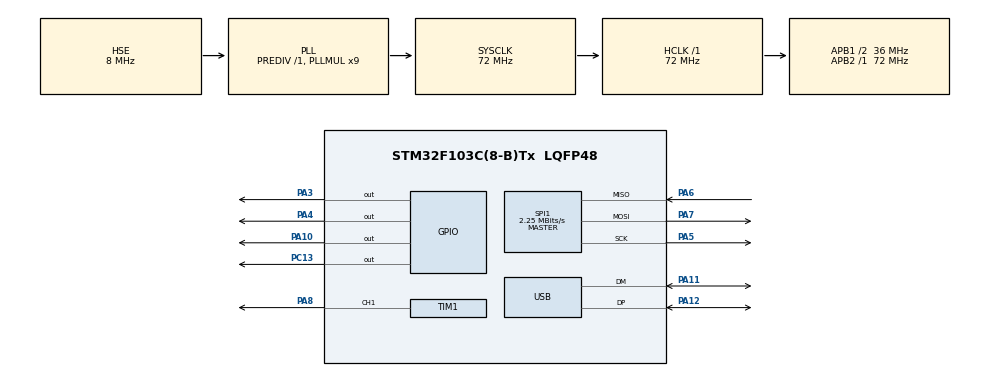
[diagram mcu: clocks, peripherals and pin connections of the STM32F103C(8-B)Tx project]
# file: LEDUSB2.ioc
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Mcu.Family=STM32F1
Mcu.Name=STM32F103C(8-B)Tx
Mcu.Package=LQFP48
NVIC.PriorityGroup=NVIC_PRIORITYGROUP_4
NVIC.TIM1_UP_IRQn=true\:0\:0\:false\:false\:true\:true\:true\:true
NVIC.USB_LP_CAN1_RX0_IRQn=true\:0\:0\:false\:false\:true\:false\:true\:true
PA10.Signal=GPIO_Output
PA11.Mode=Device
PA11.Signal=USB_DM
PA12.Mode=Device
PA12.Signal=USB_DP
PA13.Mode=Serial_Wire
PA13.Signal=SYS_JTMS-SWDIO
PA14.Mode=Serial_Wire
PA14.Signal=SYS_JTCK-SWCLK
PA3.GPIO_Speed=GPIO_SPEED_FREQ_MEDIUM
PA3.Signal=GPIO_Output
PA4.GPIO_Speed=GPIO_SPEED_FREQ_MEDIUM
PA4.PinState=GPIO_PIN_SET
PA4.Signal=GPIO_Output
PA5.Mode=Full_Duplex_Master
PA5.Signal=SPI1_SCK
PA6.Mode=Full_Duplex_Master
PA6.Signal=SPI1_MISO
PA7.Mode=Full_Duplex_Master
PA7.Signal=SPI1_MOSI
PA8.GPIO_ModeDefaultPP=GPIO_MODE_AF_PP
PA8.GPIO_Speed=GPIO_SPEED_FREQ_MEDIUM
PA8.Signal=S_TIM1_CH1
PC13-TAMPER-RTC.Signal=GPIO_Output
PD0-OSC_IN.Mode=HSE-External-Oscillator
PD0-OSC_IN.Signal=RCC_OSC_IN
PD1-OSC_OUT.Mode=HSE-External-Oscillator
PD1-OSC_OUT.Signal=RCC_OSC_OUT
ProjectManager.HeapSize=0x200
ProjectManager.StackSize=0x400
ProjectManager.TargetToolchain=STM32CubeIDE
RCC.AHBFreq_Value=72000000
RCC.APB1CLKDivider=RCC_HCLK_DIV2
RCC.APB1Freq_Value=36000000
RCC.APB1TimFreq_Value=72000000
RCC.APB2Freq_Value=72000000
RCC.APB2TimFreq_Value=72000000
RCC.HCLKFreq_Value=72000000
RCC.PLLMUL=RCC_PLL_MUL9
RCC.PLLSourceVirtual=RCC_PLLSOURCE_HSE
RCC.SYSCLKFreq_VALUE=72000000
RCC.SYSCLKSource=RCC_SYSCLKSOURCE_PLLCLK
RCC.USBFreq_Value=48000000
RCC.USBPrescaler=RCC_USBCLKSOURCE_PLL_DIV1_5
SH.S_TIM1_CH1.0=TIM1_CH1,PWM Generation1 CH1
SPI1.BaudRatePrescaler=SPI_BAUDRATEPRESCALER_32
SPI1.CalculateBaudRate=2.25 MBits/s
SPI1.DataSize=SPI_DATASIZE_8BIT
SPI1.Direction=SPI_DIRECTION_2LINES
SPI1.Mode=SPI_MODE_MASTER
SPI1.VirtualType=VM_MASTER
TIM1.Channel-PWM\ Generation1\ CH1=TIM_CHANNEL_1
TIM1.Period=99
TIM1.Prescaler=71
TIM1.Pulse-PWM\ Generation1\ CH1=200
USB_DEVICE.CLASS_NAME_FS=CDC
USB_DEVICE.VirtualMode=Cdc
USB_DEVICE.VirtualModeFS=Cdc_FS
VP_TIM1_VS_ClockSourceINT.Mode=Internal
VP_USB_DEVICE_VS_USB_DEVICE_CDC_FS.Mode=CDC_FS
board=custom

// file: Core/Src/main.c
/* USER CODE BEGIN Header */
/**
  ******************************************************************************
  * @file           : main.c
  * @brief          : Main program body
  ******************************************************************************
  * @attention
  *
  * Copyright (c) 2024 STMicroelectronics.
  * All rights reserved.
  *
  * This software is licensed under terms that can be found in the LICENSE file
  * in the root directory of this software component.
  * If no LICENSE file comes with this software, it is provided AS-IS.
  *
  ******************************************************************************
  */
/* USER CODE END Header */
#include "main.h"
#include "usb_device.h"

/* USER CODE BEGIN Includes */
#include "usbd_cdc_if.h"
/* USER CODE END Includes */

/* USER CODE BEGIN PTD */
 uint8_t spi_buf[7] = {0xAA,0xBB,0xCC,0xDD,0xFF,0x00,0x00};
 uint8_t spi_OUT[5];
 uint8_t spi_func[1];
 uint8_t NBUTE[1];
 uint8_t priznak = 0;
/* USER CODE END PTD */

SPI_HandleTypeDef hspi1;

TIM_HandleTypeDef htim1;

void SystemClock_Config(void);
static void MX_GPIO_Init(void);
static void MX_SPI1_Init(void);
static void MX_TIM1_Init(void);
/* USER CODE BEGIN PFP */
void setPWM(uint16_t pwm_value);
/* USER CODE END PFP */

int main(void)
{

  /* MCU Configuration--------------------------------------------------------*/

  /* Reset of all peripherals, Initializes the Flash interface and the Systick. */
  HAL_Init();

  /* Configure the system clock */
  SystemClock_Config();

  /* Initialize all configured peripherals */
  MX_GPIO_Init();
  MX_USB_DEVICE_Init();
  MX_SPI1_Init();
  MX_TIM1_Init();
  /* USER CODE BEGIN 2 */
  //HAL_TIM_Base_Start_IT(&htim1);
  //HAL_TIM_PWM_Start(&htim1, TIM_CHANNEL_1);
  /* USER CODE END 2 */

  /* Infinite loop */
  while (1)
  {

    /* USER CODE BEGIN 3 */
//	  CDC_Transmit_FS(Buf, 7);
//	  HAL_GPIO_WritePin(GPIOC, GPIO_PIN_13, GPIO_PIN_SET);
//	  HAL_Delay(300);
//	  HAL_GPIO_WritePin(GPIOC, GPIO_PIN_13, GPIO_PIN_RESET);
//	  HAL_Delay(500);
//	  HAL_GPIO_WritePin(GPIOC, GPIO_PIN_13, GPIO_PIN_SET);
//	  HAL_Delay(1200);
//	  HAL_GPIO_WritePin(GPIOC, GPIO_PIN_13, GPIO_PIN_RESET);
//	  HAL_Delay(300);
/*
  PA4 -LE
  PA5 -SCK
  PA6 -MISO
  PA7 -MOSI
*/
	  	  if (priznak == 1)
	{
	  		switch(spi_func[0])
	 { case 0:
	  	HAL_GPIO_WritePin(GPIOA, GPIO_PIN_4, GPIO_PIN_RESET);
	  	//HAL_Delay(10);
		//SPI1->CR1|= SPI_CR1_SPE;
/******************************************************************/
	  	HAL_SPI_Transmit(&hspi1,spi_OUT,NBUTE[0],100);
/******************************************************************/
		HAL_GPIO_WritePin(GPIOA, GPIO_PIN_4, GPIO_PIN_SET);
		// HAL_SPI_DeInit(hspi);
		//SPI1->CR1 &= ~SPI_CR1_SPE;                       //Disable the SPI1  by setting the SPE bit to 0
		break;
		case 1: HAL_GPIO_WritePin(GPIOA, GPIO_PIN_3, GPIO_PIN_SET);
				delay(500);
				HAL_GPIO_WritePin(GPIOA, GPIO_PIN_3, GPIO_PIN_RESET);break;
		case 2: HAL_GPIO_WritePin(GPIOA, GPIO_PIN_10, GPIO_PIN_SET);
				delay(500);
		        HAL_GPIO_WritePin(GPIOA, GPIO_PIN_10, GPIO_PIN_RESET);break;
		case 3: TIM1->CCR1 = spi_OUT[4];
				HAL_TIM_PWM_Start(&htim1, TIM_CHANNEL_1);break;
				//setPWM(100);
		case 4:	HAL_TIM_PWM_Stop(&htim1, TIM_CHANNEL_1);	          break;
		default:HAL_GPIO_WritePin(GPIOA, GPIO_PIN_4, GPIO_PIN_RESET);
			//SPI1->CR1|= SPI_CR1_SPE;
/******************************************************************/
	  			HAL_SPI_Transmit(&hspi1,spi_OUT,NBUTE[0],100);
/******************************************************************/
	  			//SPI1->CR1 &= ~SPI_CR1_SPE;                       //Disable the SPI1  by setting the SPE bit to 0
	  			HAL_GPIO_WritePin(GPIOA, GPIO_PIN_4, GPIO_PIN_SET);
	  	break;
	 }
		priznak = 0;
	}
    //SPI_I2S_SendData(SPI1, 0x80F1);
   HAL_Delay(5);
    /*while( !(SPI1->SR & SPI_I2S_FLAG_TXE) || SPI1->SR & SPI_I2S_FLAG_BSY );
    SPI_I2S_SendData(SPI1, 0x80F2);
    //delay (100000);
    while( !(SPI1->SR & SPI_I2S_FLAG_TXE) || SPI1->SR & SPI_I2S_FLAG_BSY );
    SPI_I2S_SendData(SPI1, 0x80F4);
    //delay (100000);
    while( !(SPI1->SR & SPI_I2S_FLAG_TXE) || SPI1->SR & SPI_I2S_FLAG_BSY );
    SPI_I2S_SendData(SPI1, 0x80F8);
    //delay (100000);
    while( !(SPI1->SR & SPI_I2S_FLAG_TXE) || SPI1->SR & SPI_I2S_FLAG_BSY );
    GPIO_SetBits(GPIOA, GPIO_Pin_4);
 */

  }
  /* USER CODE END 3 */
}

void SystemClock_Config(void)
{
  RCC_OscInitTypeDef RCC_OscInitStruct = {0};
  RCC_ClkInitTypeDef RCC_ClkInitStruct = {0};
  RCC_PeriphCLKInitTypeDef PeriphClkInit = {0};

  /** Initializes the RCC Oscillators according to the specified parameters
  * in the RCC_OscInitTypeDef structure.
  */
  RCC_OscInitStruct.OscillatorType = RCC_OSCILLATORTYPE_HSE;
  RCC_OscInitStruct.HSEState = RCC_HSE_ON;
  RCC_OscInitStruct.HSEPredivValue = RCC_HSE_PREDIV_DIV1;
  RCC_OscInitStruct.HSIState = RCC_HSI_ON;
  RCC_OscInitStruct.PLL.PLLState = RCC_PLL_ON;
  RCC_OscInitStruct.PLL.PLLSource = RCC_PLLSOURCE_HSE;
  RCC_OscInitStruct.PLL.PLLMUL = RCC_PLL_MUL9;
  if (HAL_RCC_OscConfig(&RCC_OscInitStruct) != HAL_OK)
  {
    Error_Handler();
  }

  /** Initializes the CPU, AHB and APB buses clocks
  */
  RCC_ClkInitStruct.ClockType = RCC_CLOCKTYPE_HCLK|RCC_CLOCKTYPE_SYSCLK
                              |RCC_CLOCKTYPE_PCLK1|RCC_CLOCKTYPE_PCLK2;
  RCC_ClkInitStruct.SYSCLKSource = RCC_SYSCLKSOURCE_PLLCLK;
  RCC_ClkInitStruct.AHBCLKDivider = RCC_SYSCLK_DIV1;
  RCC_ClkInitStruct.APB1CLKDivider = RCC_HCLK_DIV2;
  RCC_ClkInitStruct.APB2CLKDivider = RCC_HCLK_DIV1;

  if (HAL_RCC_ClockConfig(&RCC_ClkInitStruct, FLASH_LATENCY_2) != HAL_OK)
  {
    Error_Handler();
  }
  PeriphClkInit.PeriphClockSelection = RCC_PERIPHCLK_USB;
  PeriphClkInit.UsbClockSelection = RCC_USBCLKSOURCE_PLL_DIV1_5;
  if (HAL_RCCEx_PeriphCLKConfig(&PeriphClkInit) != HAL_OK)
  {
    Error_Handler();
  }
}

static void MX_SPI1_Init(void)
{

  /* SPI1 parameter configuration*/
  hspi1.Instance = SPI1;
  hspi1.Init.Mode = SPI_MODE_MASTER;
  hspi1.Init.Direction = SPI_DIRECTION_2LINES;
  hspi1.Init.DataSize = SPI_DATASIZE_8BIT;
  hspi1.Init.CLKPolarity = SPI_POLARITY_LOW;
  hspi1.Init.CLKPhase = SPI_PHASE_1EDGE;
  hspi1.Init.NSS = SPI_NSS_SOFT;
  hspi1.Init.BaudRatePrescaler = SPI_BAUDRATEPRESCALER_32;
  hspi1.Init.FirstBit = SPI_FIRSTBIT_MSB;
  hspi1.Init.TIMode = SPI_TIMODE_DISABLE;
  hspi1.Init.CRCCalculation = SPI_CRCCALCULATION_DISABLE;
  hspi1.Init.CRCPolynomial = 10;
  if (HAL_SPI_Init(&hspi1) != HAL_OK)
  {
    Error_Handler();
  }

}

static void MX_TIM1_Init(void)
{

  TIM_ClockConfigTypeDef sClockSourceConfig = {0};
  TIM_MasterConfigTypeDef sMasterConfig = {0};
  TIM_OC_InitTypeDef sConfigOC = {0};
  TIM_BreakDeadTimeConfigTypeDef sBreakDeadTimeConfig = {0};

  htim1.Instance = TIM1;
  htim1.Init.Prescaler = 71;
  htim1.Init.CounterMode = TIM_COUNTERMODE_UP;
  htim1.Init.Period = 99;
  htim1.Init.ClockDivision = TIM_CLOCKDIVISION_DIV1;
  htim1.Init.RepetitionCounter = 0;
  htim1.Init.AutoReloadPreload = TIM_AUTORELOAD_PRELOAD_DISABLE;
  if (HAL_TIM_Base_Init(&htim1) != HAL_OK)
  {
    Error_Handler();
  }
  sClockSourceConfig.ClockSource = TIM_CLOCKSOURCE_INTERNAL;
  if (HAL_TIM_ConfigClockSource(&htim1, &sClockSourceConfig) != HAL_OK)
  {
    Error_Handler();
  }
  if (HAL_TIM_PWM_Init(&htim1) != HAL_OK)
  {
    Error_Handler();
  }
  sMasterConfig.MasterOutputTrigger = TIM_TRGO_RESET;
  sMasterConfig.MasterSlaveMode = TIM_MASTERSLAVEMODE_DISABLE;
  if (HAL_TIMEx_MasterConfigSynchronization(&htim1, &sMasterConfig) != HAL_OK)
  {
    Error_Handler();
  }
  sConfigOC.OCMode = TIM_OCMODE_PWM1;
  sConfigOC.Pulse = 200;
  sConfigOC.OCPolarity = TIM_OCPOLARITY_HIGH;
  sConfigOC.OCNPolarity = TIM_OCNPOLARITY_HIGH;
  sConfigOC.OCFastMode = TIM_OCFAST_DISABLE;
  sConfigOC.OCIdleState = TIM_OCIDLESTATE_RESET;
  sConfigOC.OCNIdleState = TIM_OCNIDLESTATE_RESET;
  if (HAL_TIM_PWM_ConfigChannel(&htim1, &sConfigOC, TIM_CHANNEL_1) != HAL_OK)
  {
    Error_Handler();
  }
  sBreakDeadTimeConfig.OffStateRunMode = TIM_OSSR_DISABLE;
  sBreakDeadTimeConfig.OffStateIDLEMode = TIM_OSSI_DISABLE;
  sBreakDeadTimeConfig.LockLevel = TIM_LOCKLEVEL_OFF;
  sBreakDeadTimeConfig.DeadTime = 0;
  sBreakDeadTimeConfig.BreakState = TIM_BREAK_DISABLE;
  sBreakDeadTimeConfig.BreakPolarity = TIM_BREAKPOLARITY_HIGH;
  sBreakDeadTimeConfig.AutomaticOutput = TIM_AUTOMATICOUTPUT_DISABLE;
  if (HAL_TIMEx_ConfigBreakDeadTime(&htim1, &sBreakDeadTimeConfig) != HAL_OK)
  {
    Error_Handler();
  }
  HAL_TIM_MspPostInit(&htim1);

}

static void MX_GPIO_Init(void)
{
  GPIO_InitTypeDef GPIO_InitStruct = {0};

  /* GPIO Ports Clock Enable */
  __HAL_RCC_GPIOC_CLK_ENABLE();
  __HAL_RCC_GPIOD_CLK_ENABLE();
  __HAL_RCC_GPIOA_CLK_ENABLE();

  /*Configure GPIO pin Output Level */
  HAL_GPIO_WritePin(GPIOC, GPIO_PIN_13, GPIO_PIN_RESET);

  /*Configure GPIO pin Output Level */
  HAL_GPIO_WritePin(GPIOA, GPIO_PIN_3|GPIO_PIN_10, GPIO_PIN_RESET);

  /*Configure GPIO pin Output Level */
  HAL_GPIO_WritePin(GPIOA, GPIO_PIN_4, GPIO_PIN_SET);

  /*Configure GPIO pin : PC13 */
  GPIO_InitStruct.Pin = GPIO_PIN_13;
  GPIO_InitStruct.Mode = GPIO_MODE_OUTPUT_PP;
  GPIO_InitStruct.Pull = GPIO_NOPULL;
  GPIO_InitStruct.Speed = GPIO_SPEED_FREQ_LOW;
  HAL_GPIO_Init(GPIOC, &GPIO_InitStruct);

  /*Configure GPIO pins : PA3 PA4 */
  GPIO_InitStruct.Pin = GPIO_PIN_3|GPIO_PIN_4;
  GPIO_InitStruct.Mode = GPIO_MODE_OUTPUT_PP;
  GPIO_InitStruct.Pull = GPIO_NOPULL;
  GPIO_InitStruct.Speed = GPIO_SPEED_FREQ_MEDIUM;
  HAL_GPIO_Init(GPIOA, &GPIO_InitStruct);

  /*Configure GPIO pin : PA10 */
  GPIO_InitStruct.Pin = GPIO_PIN_10;
  GPIO_InitStruct.Mode = GPIO_MODE_OUTPUT_PP;
  GPIO_InitStruct.Pull = GPIO_NOPULL;
  GPIO_InitStruct.Speed = GPIO_SPEED_FREQ_LOW;
  HAL_GPIO_Init(GPIOA, &GPIO_InitStruct);

}

/* USER CODE BEGIN 4 */
void delay(uint32_t time_delay)
{
    uint32_t i;
    for(i = 0; i < time_delay; i++);
}
void setPWM(uint16_t value)
{
    TIM_OC_InitTypeDef sConfigOC;

    sConfigOC.OCMode = TIM_OCMODE_PWM1;
    sConfigOC.Pulse = value;
    sConfigOC.OCPolarity = TIM_OCPOLARITY_HIGH;
    sConfigOC.OCFastMode = TIM_OCFAST_DISABLE;
    HAL_TIM_PWM_ConfigChannel(&htim1, &sConfigOC, TIM_CHANNEL_3); // таймер №1, канал №3
    HAL_TIM_PWM_Start(&htim1, TIM_CHANNEL_3);
}
/* USER CODE END 4 */

void Error_Handler(void)
{
  __disable_irq();
  while (1)
  {
  }
}
